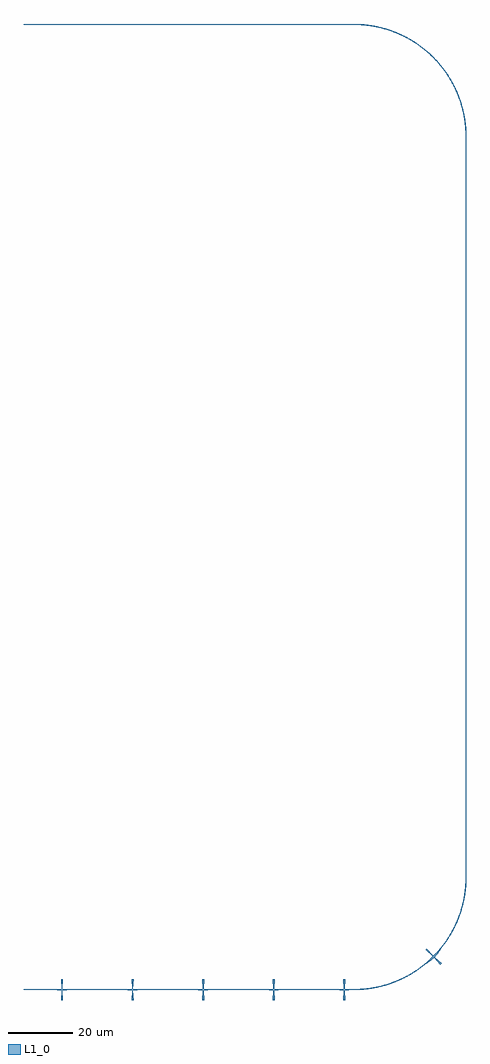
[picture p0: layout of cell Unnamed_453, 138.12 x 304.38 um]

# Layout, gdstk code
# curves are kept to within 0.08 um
from math import pi, radians
import gdstk
lib = gdstk.Library(unit=1e-6, precision=1e-09)
def P(c, l, *ps):  # polygons
    for p in ps: c.add(gdstk.Polygon(p, *l))
L1_0 = (1, 0)

taper_l10_w0p08_w0p25_p_ = lib.new_cell('taper_L10_W0p08_W0p25_P_fed8ac8b')
P(taper_l10_w0p08_w0p25_p_, L1_0, [(10,-0.125),(0,-0.04),(0,0.04),(10,0.125)])

unnamed_454 = lib.new_cell('Unnamed_454')
P(unnamed_454, L1_0, [(0,-0.125),(0,0.125),(93.252,0.126),(94.766,0.17),(96.277,0.279),(97.781,0.454),(99.525,0.741),(101.742,1.238),(103.921,1.879),(106.054,2.66),(108.132,3.579),(110.145,4.63),(112.086,5.811),(113.946,7.116),(115.717,8.538),(117.391,10.073),(118.962,11.714),(120.423,13.454),(121.768,15.285),(122.99,17.199),(124.085,19.19),(125.049,21.247),(125.876,23.362),(126.276,24.56),(126.698,26.014),(127.056,27.486),(127.35,28.972),(127.579,30.469),(127.744,31.974),(127.842,33.486),(127.874,34.748),(127.874,266.252),(127.817,268.018),(127.67,269.779),(127.393,271.78),(127.056,273.514),(126.632,275.229),(126.121,276.921),(125.433,278.82),(124.742,280.446),(123.735,282.482),(122.729,284.233),(121.479,286.13),(120.266,287.744),(118.962,289.286),(117.391,290.927),(115.908,292.297),(114.147,293.732),(112.507,294.91),(110.583,296.118),(108.585,297.199),(106.753,298.049),(104.638,298.876),(102.715,299.494),(100.76,300.001),(98.53,300.434),(96.026,300.744),(94.514,300.842),(93.252,300.874),(0,300.875),(0,301.125),(93.763,301.117),(96.3,300.97),(97.564,300.827),(99.072,300.596),(100.319,300.354),(101.804,300.004),(103.029,299.663),(104.481,299.196),(106.852,298.278),(109.15,297.192),(111.364,295.942),(113.481,294.536),(115.491,292.98),(117.384,291.283),(119.148,289.453),(120.776,287.5),(122.258,285.435),(123.587,283.268),(124.756,281.011),(125.758,278.675),(126.589,276.272),(127.244,273.816),(127.72,271.319),(128.014,268.794),(128.092,267.525),(128.125,266),(128.124,34.746),(128.092,33.475),(127.993,31.953),(127.827,30.436),(127.596,28.928),(127.354,27.681),(127.004,26.196),(126.663,24.971),(126.196,23.519),(125.378,21.382),(124.423,19.303),(123.334,17.291),(122.117,15.354),(120.776,13.5),(119.317,11.737),(117.747,10.073),(116.072,8.515),(114.299,7.069),(112.223,5.602),(110.268,4.413),(108.24,3.353),(106.148,2.428),(103.999,1.642),(101.804,0.996),(99.572,0.495),(98.067,0.242),(96.3,0.03),(94.779,-0.08),(93.254,-0.124)])

taper_l3_w0p25_w0p6_pno_ = lib.new_cell('taper_L3_W0p25_W0p6_PNo_16a215aa')
P(taper_l3_w0p25_w0p6_pno_, L1_0, [(3,-0.3),(0,-0.125),(0,0.125),(3,0.3)])

unnamed_456 = lib.new_cell('Unnamed_456')
P(unnamed_456, L1_0, [(0,-0.3),(0,0.3),(2.319,0.287),(3.629,0.418),(3.664,0.221),(1.338,-0.2)])

unnamed_455 = lib.new_cell('Unnamed_455')
unnamed_455.add(gdstk.Reference(unnamed_456, (0,0)))

unnamed_453 = lib.new_cell('Unnamed_453')
unnamed_453.add(gdstk.Reference(taper_l10_w0p08_w0p25_p_, (0,-17)))
unnamed_453.add(gdstk.Reference(unnamed_454, (10,-17)))
unnamed_453.add(gdstk.Reference(taper_l10_w0p08_w0p25_p_, (0,284)))
unnamed_453.add(gdstk.Reference(taper_l3_w0p25_w0p6_pno_, (12,-16.75), rotation=pi/2))
unnamed_453.add(gdstk.Reference(taper_l3_w0p25_w0p6_pno_, (12,-17.25), rotation=3*pi/2))
unnamed_453.add(gdstk.Reference(taper_l3_w0p25_w0p6_pno_, (9,-17)))
unnamed_453.add(gdstk.Reference(taper_l3_w0p25_w0p6_pno_, (15,-17), rotation=pi))
unnamed_453.add(gdstk.Reference(taper_l3_w0p25_w0p6_pno_, (34,-16.75), rotation=pi/2))
unnamed_453.add(gdstk.Reference(taper_l3_w0p25_w0p6_pno_, (34,-17.25), rotation=3*pi/2))
unnamed_453.add(gdstk.Reference(taper_l3_w0p25_w0p6_pno_, (31,-17)))
unnamed_453.add(gdstk.Reference(taper_l3_w0p25_w0p6_pno_, (37,-17), rotation=pi))
unnamed_453.add(gdstk.Reference(taper_l3_w0p25_w0p6_pno_, (56,-16.75), rotation=pi/2))
unnamed_453.add(gdstk.Reference(taper_l3_w0p25_w0p6_pno_, (56,-17.25), rotation=3*pi/2))
unnamed_453.add(gdstk.Reference(taper_l3_w0p25_w0p6_pno_, (53,-17)))
unnamed_453.add(gdstk.Reference(taper_l3_w0p25_w0p6_pno_, (59,-17), rotation=pi))
unnamed_453.add(gdstk.Reference(taper_l3_w0p25_w0p6_pno_, (78,-16.75), rotation=pi/2))
unnamed_453.add(gdstk.Reference(taper_l3_w0p25_w0p6_pno_, (78,-17.25), rotation=3*pi/2))
unnamed_453.add(gdstk.Reference(taper_l3_w0p25_w0p6_pno_, (75,-17)))
unnamed_453.add(gdstk.Reference(taper_l3_w0p25_w0p6_pno_, (81,-17), rotation=pi))
unnamed_453.add(gdstk.Reference(taper_l3_w0p25_w0p6_pno_, (100,-16.75), rotation=pi/2))
unnamed_453.add(gdstk.Reference(taper_l3_w0p25_w0p6_pno_, (100,-17.25), rotation=3*pi/2))
unnamed_453.add(gdstk.Reference(taper_l3_w0p25_w0p6_pno_, (97,-17)))
unnamed_453.add(gdstk.Reference(taper_l3_w0p25_w0p6_pno_, (103,-17), rotation=pi))
unnamed_453.add(gdstk.Reference(unnamed_455, (127.921,-6.749), rotation=radians(45)))
unnamed_453.add(gdstk.Reference(unnamed_455, (127.921,-6.749), rotation=radians(225), x_reflection=True))
unnamed_453.add(gdstk.Reference(taper_l3_w0p25_w0p6_pno_, (128.121,-6.949), rotation=radians(315)))
unnamed_453.add(gdstk.Reference(taper_l3_w0p25_w0p6_pno_, (127.721,-6.549), rotation=radians(135)))

lib.write_gds('Unnamed_453.gds')
